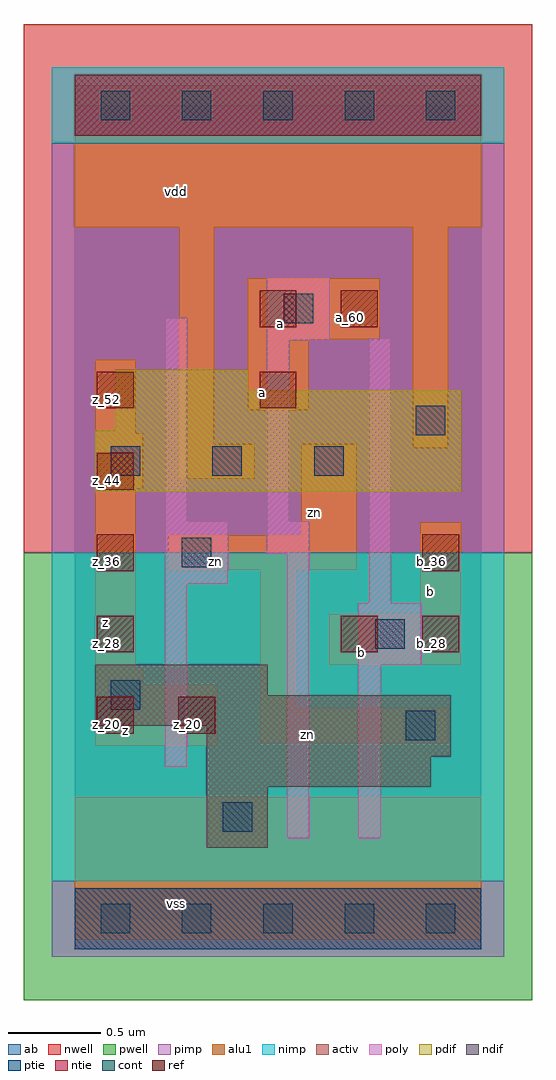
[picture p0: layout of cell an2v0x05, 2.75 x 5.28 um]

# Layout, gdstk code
import gdstk
lib = gdstk.Library(unit=1e-6, precision=2.5e-09)
def R(c, l, rs):  # rectangles x0, y0, x1, y1
    for r in rs: c.add(gdstk.rectangle(r[:2], r[2:], *l))
def A(c, l, x, y, w, h, nx, ny, dx, dy):  # array of equal rectangles
    R(c, l, [(x+i*dx, y+j*dy, x+i*dx+w, y+j*dy+h) for i in range(nx) for j in range(ny)])
ndif = (3, 0)
pdif = (4, 0)
ntie = (5, 0)
ptie = (6, 0)
ref = (24, 0)
cont = (25, 0)
pwell = (41, 0)
nwell = (42, 0)
activ = (43, 0)
pimp = (44, 0)
nimp = (45, 0)
poly = (46, 0)
alu1 = (49, 0)
ab = (63, 0)

an2v0x05 = lib.new_cell('an2v0x05')
R(an2v0x05, ndif, [(0.715,0.385,1.045,0.715), (0.715,0.715,1.925,0.88), (0.715,0.88,2.035,1.045), (0.11,1.045,2.035,1.21), (0.11,1.21,1.045,1.375)])
R(an2v0x05, pdif, [(0.11,2.31,2.09,2.64), (0.22,2.64,2.09,2.86), (0.22,2.86,0.935,2.97)])
R(an2v0x05, ntie, [(0,4.235,2.2,4.565)])
R(an2v0x05, ptie, [(0,-0.165,2.2,0.165)])
A(an2v0x05, ref, 0.12, 1, 0.2, 0.2, 1, 5, 0, 0.44)
R(an2v0x05, ref, [(0.56,1,0.76,1.2), (1.44,1.44,1.64,1.64), (1.88,1.44,2.08,1.64), (1.88,1.88,2.08,2.08), (1,2.76,1.2,2.96), (1,3.2,1.2,3.4), (1.44,3.2,1.64,3.4)])
A(an2v0x05, cont, 0.14, -0.08, 0.16, 0.16, 5, 2, 0.44, 4.4)
A(an2v0x05, cont, 0.195, 2.395, 0.16, 0.16, 3, 1, 0.55, 0)
R(an2v0x05, cont, [(0.8,0.47,0.96,0.63), (1.79,0.965,1.95,1.125), (0.195,1.13,0.355,1.29), (1.625,1.46,1.785,1.62), (0.58,1.9,0.74,2.06), (1.845,2.615,2.005,2.775), (1.13,3.22,1.29,3.38)])
R(an2v0x05, pwell, [(-0.275,-0.44,2.475,1.98)])
R(an2v0x05, nwell, [(-0.275,1.98,2.475,4.84)])
R(an2v0x05, activ, [(0,-0.165,2.2,0.165), (0.715,0.385,1.045,0.715), (0.715,0.715,1.925,0.88), (0.715,0.88,2.035,1.045), (0.11,1.045,2.035,1.21), (0.11,1.21,1.045,1.375), (0.11,2.31,2.09,2.64), (0.22,2.64,2.09,2.86), (0.22,2.86,0.935,2.97), (0,4.235,2.2,4.565)])
R(an2v0x05, pimp, [(-0.125,-0.205,2.325,0.205), (-0.125,1.98,2.325,4.195)])
R(an2v0x05, nimp, [(-0.125,0.205,2.325,1.98), (-0.125,4.195,2.325,4.605)])
R(an2v0x05, poly, [(1.15,0.435,1.27,1.975), (1.535,0.435,1.655,1.37), (0.49,0.82,0.61,1.81), (1.535,1.37,1.875,1.71), (1.59,1.71,1.71,3.14), (0.49,1.81,0.83,2.15), (1.04,1.975,1.27,2.15), (0.49,2.15,0.61,3.25), (1.04,2.15,1.16,3.13), (1.04,3.13,1.38,3.47)])
R(an2v0x05, alu1, [(0,-0.11,2.2,0.66), (0.11,0.935,0.77,1.265), (1.005,0.95,2.02,1.14), (1.005,1.14,1.195,1.885), (0.11,1.265,0.37,1.36), (0.11,1.36,0.33,2.325), (1.375,1.375,2.09,1.65), (1.87,1.65,2.09,2.145), (0.51,1.885,1.525,2.075), (1.225,2.075,1.525,2.57), (0.11,2.325,0.37,2.625), (0.565,2.38,0.975,2.57), (1.83,2.545,2.02,3.74), (0.565,2.57,0.755,3.74), (0.11,2.625,0.33,3.025), (0.935,2.75,1.265,3.135), (0.935,3.135,1.65,3.465), (0,3.74,2.2,4.51)])
R(an2v0x05, ab, [(0,0,2.2,4.4)])
an2v0x05.add(gdstk.Label('vss', (0.55,0.0825), layer=49, texttype=0))
an2v0x05.add(gdstk.Label('zn', (1.2575,0.9975), layer=49, texttype=0))
an2v0x05.add(gdstk.Label('b', (1.5525,1.4425), layer=49, texttype=0))
an2v0x05.add(gdstk.Label('b', (1.925,1.7725), layer=49, texttype=0))
an2v0x05.add(gdstk.Label('z', (0.275,1.0175), layer=49, texttype=0))
an2v0x05.add(gdstk.Label('zn', (0.7625,1.9325), layer=49, texttype=0))
an2v0x05.add(gdstk.Label('zn', (1.3,2.1975), layer=49, texttype=0))
an2v0x05.add(gdstk.Label('z', (0.165,1.6), layer=49, texttype=0))
an2v0x05.add(gdstk.Label('a', (1.0175,2.845), layer=49, texttype=0))
an2v0x05.add(gdstk.Label('a', (1.1125,3.2175), layer=49, texttype=0))
an2v0x05.add(gdstk.Label('vdd', (0.55,3.9325), layer=49, texttype=0))
an2v0x05.add(gdstk.Label('a_52', (1.05,2.81), layer=24, texttype=0))
an2v0x05.add(gdstk.Label('b_36', (1.93,1.93), layer=24, texttype=0))
an2v0x05.add(gdstk.Label('z_52', (0.17,2.81), layer=24, texttype=0))
an2v0x05.add(gdstk.Label('z_44', (0.17,2.37), layer=24, texttype=0))
an2v0x05.add(gdstk.Label('z_36', (0.17,1.93), layer=24, texttype=0))
an2v0x05.add(gdstk.Label('z_28', (0.17,1.49), layer=24, texttype=0))
an2v0x05.add(gdstk.Label('z_20', (0.17,1.05), layer=24, texttype=0))
an2v0x05.add(gdstk.Label('b_28', (1.93,1.49), layer=24, texttype=0))
an2v0x05.add(gdstk.Label('a_60', (1.49,3.25), layer=24, texttype=0))
an2v0x05.add(gdstk.Label('b_28', (1.49,1.49), layer=24, texttype=0))
an2v0x05.add(gdstk.Label('a_60', (1.05,3.25), layer=24, texttype=0))
an2v0x05.add(gdstk.Label('z_20', (0.61,1.05), layer=24, texttype=0))

lib.write_gds('an2v0x05.gds')
